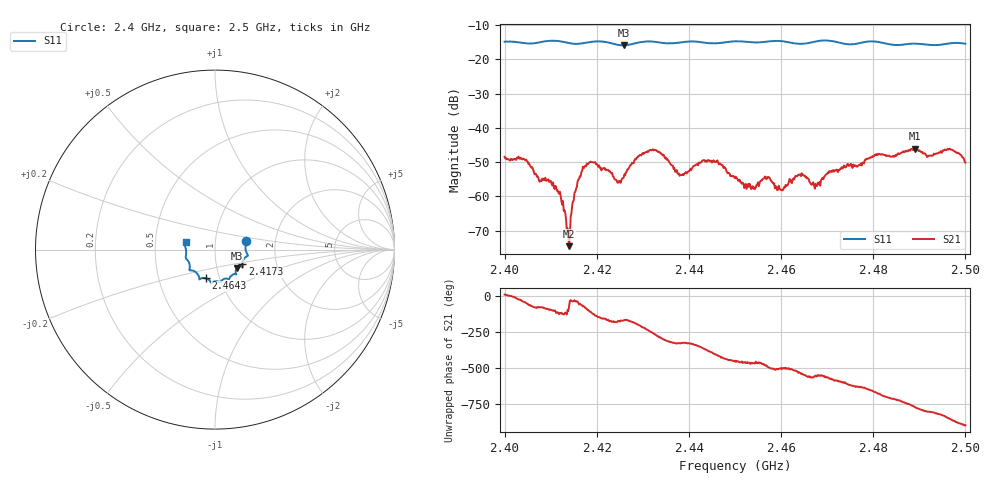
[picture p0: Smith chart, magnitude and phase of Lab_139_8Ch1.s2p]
# Hz S RI R 50
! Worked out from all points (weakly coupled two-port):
!   601 points, 2.4 GHz to 2.5 GHz, reference 50 ohm
!   highest |S21| = -46.06 dB at 2.489 GHz (marker M1); lowest = -74.5 dB at 2.414 GHz (marker M2)
!   lowest |S11| = -15.9 dB at 2.4258 GHz (marker M3), VSWR 1.38, Z = 62.3 - j13.3 ohm
!   |S11| at or under -10 dB: start of sweep to end of sweep
!   S12 and S22 are empty: the file has one direction only
!   S11 on the Smith chart (normalised r, x): 2.4 GHz: 1.41, +0.14; 2.4173 GHz: 1.34, -0.23; 2.4643 GHz: 0.86, -0.28; 2.5 GHz: 0.72, +0.06
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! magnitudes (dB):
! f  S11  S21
! 2.4 GHz  -14.9  -48.4
! 2.4045 GHz  -15.3  -49.5
! 2.41 GHz  -14.6  -55.5
! 2.4122 GHz  -14.8  -59.8
! 2.414 GHz  -15.3  -74.5
! 2.4152 GHz  -15.5  -58.9
! 2.4167 GHz  -15.4  -52.9
! 2.4173 GHz  -15.2  -51.4
! 2.4258 GHz  -15.9  -54.4
! 2.4295 GHz  -15.0  -48.0
! 2.4333 GHz  -15.0  -47.1
! 2.438 GHz  -15.1  -54.0
! 2.4438 GHz  -15.2  -49.9
! 2.45 GHz  -14.7  -54.7
! 2.457 GHz  -14.8  -54.3
! 2.4602 GHz  -14.7  -58.1
! 2.4643 GHz  -15.5  -54.1
! 2.4667 GHz  -15.0  -56.6
! 2.4833 GHz  -15.6  -48.2
! 2.489 GHz  -15.4  -46.1
! 2.4967 GHz  -15.3  -46.1
! 2.5 GHz  -15.4  -50.2
